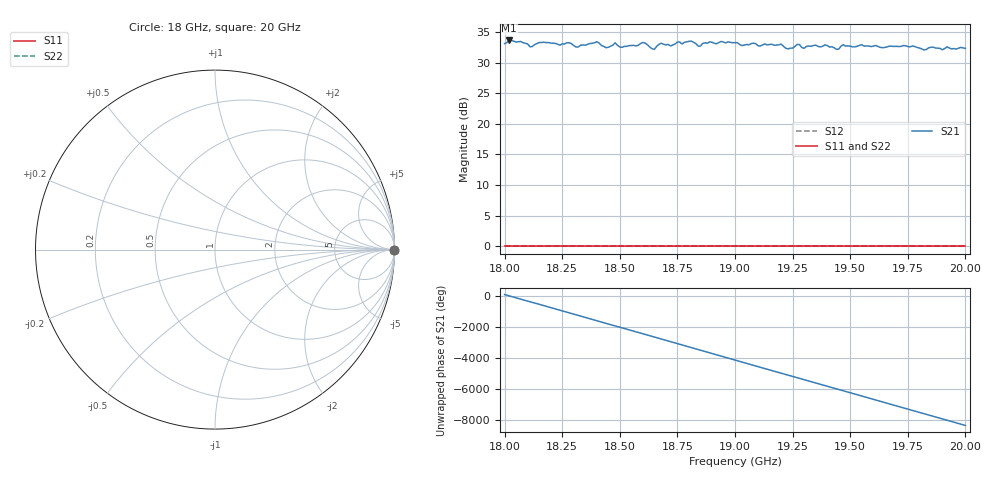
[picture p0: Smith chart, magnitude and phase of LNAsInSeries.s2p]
!Agilent N9918A: A.07.57
!Date: Monday, 27 July 2020 18:37:13
!Timezone: (GMT-08:00) Pacific Time (US & Canada)
!Model: N9918A
!Serial: MY53103598
!GPS Latitude:
!GPS Longitude:
!GPS TimeStamp: 0001-01-01 00:00:00Z
!GPS Seconds Since Last Read: 0
!CHECKSUM:0566258812
!Correction: S11()S21(Rdy)S12()S22()
!S2P File: Measurements:S11,S21,S12,S22:
# Hz S DB R 50
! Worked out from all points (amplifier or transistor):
!   201 points, 18 GHz to 20 GHz, reference 50 ohm
!   highest |S21| = 33.6 dB at 18.02 GHz (marker M1)
!   |S21| within 3 dB of that: start of sweep to end of sweep
!   unconditionally stable (mu >= 1): nowhere
!   at 18.33 GHz: K = 22.87, MSG = 16.4 dB, |S12| = 0.0 dB
!   at 19 GHz: K = 24.00, MSG = 16.6 dB, |S12| = 0.0 dB
!   at 20 GHz: K = 20.08, MSG = 16.2 dB, |S12| = 0.0 dB
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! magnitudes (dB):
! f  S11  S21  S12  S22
! 18 GHz  0.0  33.1  0.0  0.0
! 18.02 GHz  0.0  33.6  0.0  0.0
! 18.11 GHz  0.0  32.6  0.0  0.0
! 18.17 GHz  0.0  33.3  0.0  0.0
! 18.34 GHz  0.0  32.9  0.0  0.0
! 18.4 GHz  0.0  33.4  0.0  0.0
! 18.44 GHz  0.0  32.5  0.0  0.0
! 18.48 GHz  0.0  33.2  0.0  0.0
! 18.51 GHz  0.0  32.5  0.0  0.0
! 18.6 GHz  0.0  33.3  0.0  0.0
! 18.65 GHz  0.0  32.2  0.0  0.0
! 18.67 GHz  0.0  33.0  0.0  0.0
! 19 GHz  0.0  33.3  0.0  0.0
! 19.2 GHz  0.0  33.0  0.0  0.0
! 19.23 GHz  0.0  32.3  0.0  0.0
! 19.27 GHz  0.0  33.0  0.0  0.0
! 19.3 GHz  0.0  32.3  0.0  0.0
! 19.34 GHz  0.0  32.8  0.0  0.0
! 19.44 GHz  0.0  32.2  0.0  0.0
! 19.47 GHz  0.0  32.9  0.0  0.0
! 19.67 GHz  0.0  32.7  0.0  0.0
! 20 GHz  0.0  32.3  0.0  0.0
